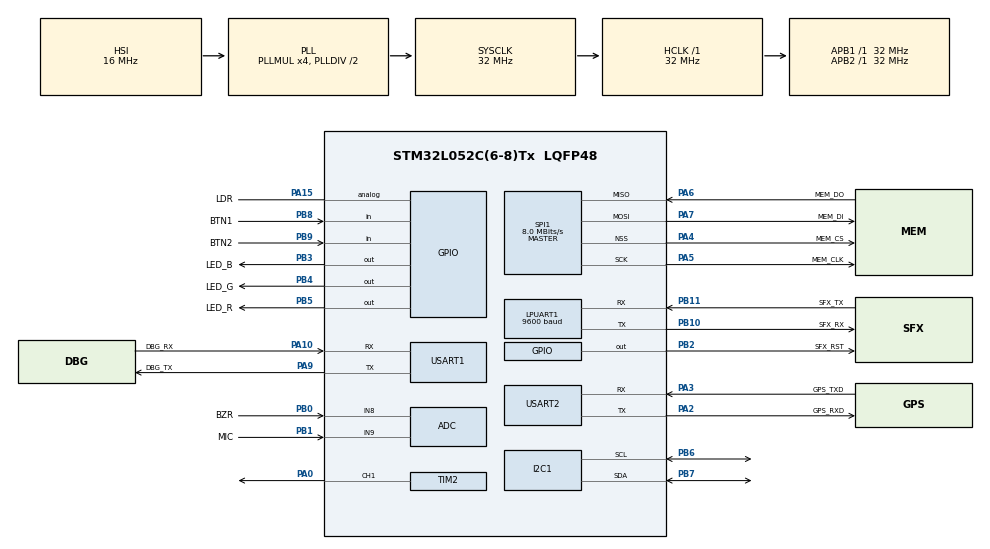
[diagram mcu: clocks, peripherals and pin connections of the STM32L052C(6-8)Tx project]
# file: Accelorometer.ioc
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ADC.ContinuousConvMode=ENABLE
ADC.DMAContinuousRequests=ENABLE
Dma.ADC.0.Direction=DMA_PERIPH_TO_MEMORY
Dma.ADC.0.Instance=DMA1_Channel1
Dma.ADC.0.MemDataAlignment=DMA_MDATAALIGN_HALFWORD
Dma.ADC.0.MemInc=DMA_MINC_ENABLE
Dma.ADC.0.Mode=DMA_NORMAL
Dma.ADC.0.PeriphDataAlignment=DMA_PDATAALIGN_HALFWORD
Dma.ADC.0.PeriphInc=DMA_PINC_DISABLE
Dma.ADC.0.Priority=DMA_PRIORITY_LOW
Dma.Request0=ADC
I2C1.Timing=0x00707CBB
LPUART1.BaudRate=9600
LPUART1.WordLength=UART_WORDLENGTH_8B
Mcu.Family=STM32L0
Mcu.Name=STM32L052C(6-8)Tx
Mcu.Package=LQFP48
NVIC.DMA1_Channel1_IRQn=true\:0\:0\:false\:false\:true\:false\:true
NVIC.RNG_LPUART1_IRQn=true\:0\:0\:false\:false\:true\:true\:true
PA0.Signal=S_TIM2_CH1
PA10.GPIO_Label=DBG_RX
PA10.Mode=Asynchronous
PA10.Signal=USART1_RX
PA13.Mode=Serial_Wire
PA13.Signal=SYS_SWDIO
PA14.Mode=Serial_Wire
PA14.Signal=SYS_SWCLK
PA15.GPIO_Label=LDR
PA15.Signal=GPIO_Analog
PA2.GPIO_Label=GPS_RXD
PA2.Mode=Asynchronous
PA2.Signal=USART2_TX
PA3.GPIO_Label=GPS_TXD
PA3.Mode=Asynchronous
PA3.Signal=USART2_RX
PA4.GPIO_Label=MEM_CS
PA4.Mode=NSS_Signal_Hard_Output
PA4.Signal=SPI1_NSS
PA5.GPIO_Label=MEM_CLK
PA5.Mode=Full_Duplex_Master
PA5.Signal=SPI1_SCK
PA6.GPIO_Label=MEM_DO
PA6.Mode=Full_Duplex_Master
PA6.Signal=SPI1_MISO
PA7.GPIO_Label=MEM_DI
PA7.Mode=Full_Duplex_Master
PA7.Signal=SPI1_MOSI
PA9.GPIO_Label=DBG_TX
PA9.Mode=Asynchronous
PA9.Signal=USART1_TX
PB0.GPIO_Label=BZR
PB0.Mode=IN8
PB0.Signal=ADC_IN8
PB1.GPIO_Label=MIC
PB1.Mode=IN9
PB1.Signal=ADC_IN9
PB10.GPIO_Label=SFX_RX
PB10.Mode=Asynchronous
PB10.Signal=LPUART1_TX
PB11.GPIO_Label=SFX_TX
PB11.Mode=Asynchronous
PB11.Signal=LPUART1_RX
PB2.GPIO_Label=SFX_RST
PB2.Signal=GPIO_Output
PB3.GPIO_Label=LED_B
PB3.GPIO_Speed=GPIO_SPEED_FREQ_MEDIUM
PB3.Signal=GPIO_Output
PB4.GPIO_Label=LED_G
PB4.GPIO_Speed=GPIO_SPEED_FREQ_MEDIUM
PB4.Signal=GPIO_Output
PB5.GPIO_Label=LED_R
PB5.GPIO_Speed=GPIO_SPEED_FREQ_MEDIUM
PB5.Signal=GPIO_Output
PB6.Mode=I2C
PB6.Signal=I2C1_SCL
PB7.Mode=I2C
PB7.Signal=I2C1_SDA
PB8.GPIO_Label=BTN1
PB8.GPIO_PuPd=GPIO_PULLUP
PB8.Signal=GPIO_Input
PB9.GPIO_Label=BTN2
PB9.GPIO_PuPd=GPIO_PULLUP
PB9.Signal=GPIO_Input
PH0-OSC_IN.Mode=HSE-External-Oscillator
PH0-OSC_IN.Signal=RCC_OSC_IN
PH1-OSC_OUT.Mode=HSE-External-Oscillator
PH1-OSC_OUT.Signal=RCC_OSC_OUT
ProjectManager.HeapSize=0x200
ProjectManager.StackSize=0x400
ProjectManager.TargetToolchain=STM32CubeIDE
RCC.AHBFreq_Value=32000000
RCC.APB1Freq_Value=32000000
RCC.APB1TimFreq_Value=32000000
RCC.APB2Freq_Value=32000000
RCC.APB2TimFreq_Value=32000000
RCC.HCLKFreq_Value=32000000
RCC.HSE_VALUE=8000000
RCC.HSI16_VALUE=16000000
RCC.HSI48_VALUE=48000000
RCC.HSI_VALUE=16000000
RCC.LSE_VALUE=32768
RCC.MSI_VALUE=2097000
RCC.PLLMUL=RCC_PLLMUL_4
RCC.SYSCLKFreq_VALUE=32000000
RCC.SYSCLKSource=RCC_SYSCLKSOURCE_PLLCLK
RCC.VCOOutputFreq_Value=64000000
SH.S_TIM2_CH1.0=TIM2_CH1,PWM Generation1 CH1
SPI1.BaudRatePrescaler=SPI_BAUDRATEPRESCALER_4
SPI1.CalculateBaudRate=8.0 MBits/s
SPI1.Direction=SPI_DIRECTION_2LINES
SPI1.Mode=SPI_MODE_MASTER
SPI1.VirtualNSS=VM_NSSHARD
SPI1.VirtualType=VM_MASTER
TIM2.Channel-PWM\ Generation1\ CH1=TIM_CHANNEL_1
TIM2.Period=200-1
TIM2.Prescaler=320-1
USART1.VirtualMode-Asynchronous=VM_ASYNC
USART2.VirtualMode-Asynchronous=VM_ASYNC
board=custom

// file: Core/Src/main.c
/* USER CODE BEGIN Header */
/**
  ******************************************************************************
  * @file           : main.c
  * @brief          : Main program body
  ******************************************************************************
  * @attention
  *
  * Copyright (c) 2024 STMicroelectronics.
  * All rights reserved.
  *
  * This software is licensed under terms that can be found in the LICENSE file
  * in the root directory of this software component.
  * If no LICENSE file comes with this software, it is provided AS-IS.
  *
  ******************************************************************************
  */
/* USER CODE END Header */
#include "main.h"

/* USER CODE BEGIN Includes */
/* USER CODE BEGIN Includes */
#include "utils.h"
#include "L70R.h"
#include "sht30x.h"
#include "LIS2DH12.h"

/* USER CODE END Includes */

ADC_HandleTypeDef hadc;
DMA_HandleTypeDef hdma_adc;

I2C_HandleTypeDef hi2c1;

UART_HandleTypeDef hlpuart1;
UART_HandleTypeDef huart1;
UART_HandleTypeDef huart2;

SPI_HandleTypeDef hspi1;

TIM_HandleTypeDef htim2;

/* USER CODE BEGIN PV */
short int tempL;
uint8_t humidityL;
uint8_t state ;
uint8_t xAxis;
uint8_t yAxis;
uint8_t zAxis;
uint32_t gps_tick_;
uint8_t gps_flag;

//char packets[24];
uint8_t flags = 0;
//date/time
char time[12] = { 0 };
char date[12] = { 0 };
char gps_ns, gps_ew;
char* timeL;
char* 	dateL;
/* USER CODE END PV */

void SystemClock_Config(void);
static void MX_GPIO_Init(void);
static void MX_USART1_UART_Init(void);
static void MX_USART2_UART_Init(void);
static void MX_ADC_Init(void);
static void MX_I2C1_Init(void);
static void MX_LPUART1_UART_Init(void);
static void MX_DMA_Init(void);
static void MX_SPI1_Init(void);
static void MX_TIM2_Init(void);

int main(void)
{
  /* USER CODE BEGIN 1 */
	gps_tick_ = 0;
	gps_flag = 0;
  /* USER CODE END 1 */

  /* MCU Configuration--------------------------------------------------------*/

  /* Reset of all peripherals, Initializes the Flash interface and the Systick. */
  HAL_Init();

  /* Configure the system clock */
  SystemClock_Config();

  /* Initialize all configured peripherals */
  MX_GPIO_Init();
  MX_USART1_UART_Init();
  MX_USART2_UART_Init();
  MX_ADC_Init();
  MX_I2C1_Init();
  MX_LPUART1_UART_Init();
  MX_DMA_Init();
  MX_SPI1_Init();
  MX_TIM2_Init();
  /* USER CODE BEGIN 2 */

	//init sht30x temp&hum sensor
	sht30x_init(0x44);
	//init lis2dh12 3-axis sensor
	Lis2dh12_init(0x19);
	//init l70R gps module, NO NMEA output
	l70_mode(1);

  /* USER CODE END 2 */

  /* Infinite loop */
  /* USER CODE BEGIN WHILE */
  while (1)
  {

	  HAL_GPIO_TogglePin(LED_B_GPIO_Port, LED_B_Pin);
	  HAL_Delay(500);
	  sht30x_get();
	  tempL = sht30x->fTemp;
	  humidityL = sht30x->humidity;

	  state = Lis2dh12_whoIAm();
	 if (state == 0x33){
		 Lis2dh12_getXYZ();
	 }
	 xAxis = Lis2dh12->x;
	 yAxis = Lis2dh12->y;
	 zAxis = Lis2dh12->z;

	 timeL = dateTimeFormat(time, l70->time, ':');
     dateL = dateTimeFormat(date, l70->date, '-');
	 gps_ns = (l70->lat_ns == 0) ? ' ' : l70->lat_ns;
	 gps_ew = (l70->lng_ew == 0) ? ' ' : l70->lng_ew;
    /* USER CODE END WHILE */

  }
}

void SystemClock_Config(void)
{
  RCC_OscInitTypeDef RCC_OscInitStruct = {0};
  RCC_ClkInitTypeDef RCC_ClkInitStruct = {0};
  RCC_PeriphCLKInitTypeDef PeriphClkInit = {0};

  /** Configure the main internal regulator output voltage
  */
  __HAL_PWR_VOLTAGESCALING_CONFIG(PWR_REGULATOR_VOLTAGE_SCALE1);
  /** Initializes the RCC Oscillators according to the specified parameters
  * in the RCC_OscInitTypeDef structure.
  */
  RCC_OscInitStruct.OscillatorType = RCC_OSCILLATORTYPE_HSI;
  RCC_OscInitStruct.HSIState = RCC_HSI_ON;
  RCC_OscInitStruct.HSICalibrationValue = RCC_HSICALIBRATION_DEFAULT;
  RCC_OscInitStruct.PLL.PLLState = RCC_PLL_ON;
  RCC_OscInitStruct.PLL.PLLSource = RCC_PLLSOURCE_HSI;
  RCC_OscInitStruct.PLL.PLLMUL = RCC_PLLMUL_4;
  RCC_OscInitStruct.PLL.PLLDIV = RCC_PLLDIV_2;
  if (HAL_RCC_OscConfig(&RCC_OscInitStruct) != HAL_OK)
  {
    Error_Handler();
  }
  /** Initializes the CPU, AHB and APB buses clocks
  */
  RCC_ClkInitStruct.ClockType = RCC_CLOCKTYPE_HCLK|RCC_CLOCKTYPE_SYSCLK
                              |RCC_CLOCKTYPE_PCLK1|RCC_CLOCKTYPE_PCLK2;
  RCC_ClkInitStruct.SYSCLKSource = RCC_SYSCLKSOURCE_PLLCLK;
  RCC_ClkInitStruct.AHBCLKDivider = RCC_SYSCLK_DIV1;
  RCC_ClkInitStruct.APB1CLKDivider = RCC_HCLK_DIV1;
  RCC_ClkInitStruct.APB2CLKDivider = RCC_HCLK_DIV1;

  if (HAL_RCC_ClockConfig(&RCC_ClkInitStruct, FLASH_LATENCY_1) != HAL_OK)
  {
    Error_Handler();
  }
  PeriphClkInit.PeriphClockSelection = RCC_PERIPHCLK_USART1|RCC_PERIPHCLK_USART2
                              |RCC_PERIPHCLK_LPUART1|RCC_PERIPHCLK_I2C1;
  PeriphClkInit.Usart1ClockSelection = RCC_USART1CLKSOURCE_PCLK2;
  PeriphClkInit.Usart2ClockSelection = RCC_USART2CLKSOURCE_PCLK1;
  PeriphClkInit.Lpuart1ClockSelection = RCC_LPUART1CLKSOURCE_PCLK1;
  PeriphClkInit.I2c1ClockSelection = RCC_I2C1CLKSOURCE_PCLK1;
  if (HAL_RCCEx_PeriphCLKConfig(&PeriphClkInit) != HAL_OK)
  {
    Error_Handler();
  }
}

static void MX_ADC_Init(void)
{

  ADC_ChannelConfTypeDef sConfig = {0};

  /** Configure the global features of the ADC (Clock, Resolution, Data Alignment and number of conversion)
  */
  hadc.Instance = ADC1;
  hadc.Init.OversamplingMode = DISABLE;
  hadc.Init.ClockPrescaler = ADC_CLOCK_SYNC_PCLK_DIV2;
  hadc.Init.Resolution = ADC_RESOLUTION_12B;
  hadc.Init.SamplingTime = ADC_SAMPLETIME_1CYCLE_5;
  hadc.Init.ScanConvMode = ADC_SCAN_DIRECTION_FORWARD;
  hadc.Init.DataAlign = ADC_DATAALIGN_RIGHT;
  hadc.Init.ContinuousConvMode = ENABLE;
  hadc.Init.DiscontinuousConvMode = DISABLE;
  hadc.Init.ExternalTrigConvEdge = ADC_EXTERNALTRIGCONVEDGE_NONE;
  hadc.Init.ExternalTrigConv = ADC_SOFTWARE_START;
  hadc.Init.DMAContinuousRequests = ENABLE;
  hadc.Init.EOCSelection = ADC_EOC_SINGLE_CONV;
  hadc.Init.Overrun = ADC_OVR_DATA_PRESERVED;
  hadc.Init.LowPowerAutoWait = DISABLE;
  hadc.Init.LowPowerFrequencyMode = DISABLE;
  hadc.Init.LowPowerAutoPowerOff = DISABLE;
  if (HAL_ADC_Init(&hadc) != HAL_OK)
  {
    Error_Handler();
  }
  /** Configure for the selected ADC regular channel to be converted.
  */
  sConfig.Channel = ADC_CHANNEL_8;
  sConfig.Rank = ADC_RANK_CHANNEL_NUMBER;
  if (HAL_ADC_ConfigChannel(&hadc, &sConfig) != HAL_OK)
  {
    Error_Handler();
  }
  /** Configure for the selected ADC regular channel to be converted.
  */
  sConfig.Channel = ADC_CHANNEL_9;
  if (HAL_ADC_ConfigChannel(&hadc, &sConfig) != HAL_OK)
  {
    Error_Handler();
  }

}

static void MX_I2C1_Init(void)
{

  hi2c1.Instance = I2C1;
  hi2c1.Init.Timing = 0x00707CBB;
  hi2c1.Init.OwnAddress1 = 0;
  hi2c1.Init.AddressingMode = I2C_ADDRESSINGMODE_7BIT;
  hi2c1.Init.DualAddressMode = I2C_DUALADDRESS_DISABLE;
  hi2c1.Init.OwnAddress2 = 0;
  hi2c1.Init.OwnAddress2Masks = I2C_OA2_NOMASK;
  hi2c1.Init.GeneralCallMode = I2C_GENERALCALL_DISABLE;
  hi2c1.Init.NoStretchMode = I2C_NOSTRETCH_DISABLE;
  if (HAL_I2C_Init(&hi2c1) != HAL_OK)
  {
    Error_Handler();
  }
  /** Configure Analogue filter
  */
  if (HAL_I2CEx_ConfigAnalogFilter(&hi2c1, I2C_ANALOGFILTER_ENABLE) != HAL_OK)
  {
    Error_Handler();
  }
  /** Configure Digital filter
  */
  if (HAL_I2CEx_ConfigDigitalFilter(&hi2c1, 0) != HAL_OK)
  {
    Error_Handler();
  }

}

static void MX_LPUART1_UART_Init(void)
{

  hlpuart1.Instance = LPUART1;
  hlpuart1.Init.BaudRate = 9600;
  hlpuart1.Init.WordLength = UART_WORDLENGTH_8B;
  hlpuart1.Init.StopBits = UART_STOPBITS_1;
  hlpuart1.Init.Parity = UART_PARITY_NONE;
  hlpuart1.Init.Mode = UART_MODE_TX_RX;
  hlpuart1.Init.HwFlowCtl = UART_HWCONTROL_NONE;
  hlpuart1.Init.OneBitSampling = UART_ONE_BIT_SAMPLE_DISABLE;
  hlpuart1.AdvancedInit.AdvFeatureInit = UART_ADVFEATURE_NO_INIT;
  if (HAL_UART_Init(&hlpuart1) != HAL_OK)
  {
    Error_Handler();
  }

}

static void MX_USART1_UART_Init(void)
{

  huart1.Instance = USART1;
  huart1.Init.BaudRate = 115200;
  huart1.Init.WordLength = UART_WORDLENGTH_8B;
  huart1.Init.StopBits = UART_STOPBITS_1;
  huart1.Init.Parity = UART_PARITY_NONE;
  huart1.Init.Mode = UART_MODE_TX_RX;
  huart1.Init.HwFlowCtl = UART_HWCONTROL_NONE;
  huart1.Init.OverSampling = UART_OVERSAMPLING_16;
  huart1.Init.OneBitSampling = UART_ONE_BIT_SAMPLE_DISABLE;
  huart1.AdvancedInit.AdvFeatureInit = UART_ADVFEATURE_NO_INIT;
  if (HAL_UART_Init(&huart1) != HAL_OK)
  {
    Error_Handler();
  }

}

static void MX_USART2_UART_Init(void)
{

  huart2.Instance = USART2;
  huart2.Init.BaudRate = 115200;
  huart2.Init.WordLength = UART_WORDLENGTH_8B;
  huart2.Init.StopBits = UART_STOPBITS_1;
  huart2.Init.Parity = UART_PARITY_NONE;
  huart2.Init.Mode = UART_MODE_TX_RX;
  huart2.Init.HwFlowCtl = UART_HWCONTROL_NONE;
  huart2.Init.OverSampling = UART_OVERSAMPLING_16;
  huart2.Init.OneBitSampling = UART_ONE_BIT_SAMPLE_DISABLE;
  huart2.AdvancedInit.AdvFeatureInit = UART_ADVFEATURE_NO_INIT;
  if (HAL_UART_Init(&huart2) != HAL_OK)
  {
    Error_Handler();
  }

}

static void MX_SPI1_Init(void)
{

  /* SPI1 parameter configuration*/
  hspi1.Instance = SPI1;
  hspi1.Init.Mode = SPI_MODE_MASTER;
  hspi1.Init.Direction = SPI_DIRECTION_2LINES;
  hspi1.Init.DataSize = SPI_DATASIZE_8BIT;
  hspi1.Init.CLKPolarity = SPI_POLARITY_LOW;
  hspi1.Init.CLKPhase = SPI_PHASE_1EDGE;
  hspi1.Init.NSS = SPI_NSS_HARD_OUTPUT;
  hspi1.Init.BaudRatePrescaler = SPI_BAUDRATEPRESCALER_4;
  hspi1.Init.FirstBit = SPI_FIRSTBIT_MSB;
  hspi1.Init.TIMode = SPI_TIMODE_DISABLE;
  hspi1.Init.CRCCalculation = SPI_CRCCALCULATION_DISABLE;
  hspi1.Init.CRCPolynomial = 7;
  if (HAL_SPI_Init(&hspi1) != HAL_OK)
  {
    Error_Handler();
  }

}

static void MX_TIM2_Init(void)
{

  TIM_MasterConfigTypeDef sMasterConfig = {0};
  TIM_OC_InitTypeDef sConfigOC = {0};

  htim2.Instance = TIM2;
  htim2.Init.Prescaler = 320-1;
  htim2.Init.CounterMode = TIM_COUNTERMODE_UP;
  htim2.Init.Period = 200-1;
  htim2.Init.ClockDivision = TIM_CLOCKDIVISION_DIV1;
  htim2.Init.AutoReloadPreload = TIM_AUTORELOAD_PRELOAD_DISABLE;
  if (HAL_TIM_PWM_Init(&htim2) != HAL_OK)
  {
    Error_Handler();
  }
  sMasterConfig.MasterOutputTrigger = TIM_TRGO_RESET;
  sMasterConfig.MasterSlaveMode = TIM_MASTERSLAVEMODE_DISABLE;
  if (HAL_TIMEx_MasterConfigSynchronization(&htim2, &sMasterConfig) != HAL_OK)
  {
    Error_Handler();
  }
  sConfigOC.OCMode = TIM_OCMODE_PWM1;
  sConfigOC.Pulse = 0;
  sConfigOC.OCPolarity = TIM_OCPOLARITY_HIGH;
  sConfigOC.OCFastMode = TIM_OCFAST_DISABLE;
  if (HAL_TIM_PWM_ConfigChannel(&htim2, &sConfigOC, TIM_CHANNEL_1) != HAL_OK)
  {
    Error_Handler();
  }
  HAL_TIM_MspPostInit(&htim2);

}

static void MX_DMA_Init(void)
{

  /* DMA controller clock enable */
  __HAL_RCC_DMA1_CLK_ENABLE();

  /* DMA interrupt init */
  /* DMA1_Channel1_IRQn interrupt configuration */
  HAL_NVIC_SetPriority(DMA1_Channel1_IRQn, 0, 0);
  HAL_NVIC_EnableIRQ(DMA1_Channel1_IRQn);

}

static void MX_GPIO_Init(void)
{
  GPIO_InitTypeDef GPIO_InitStruct = {0};

  /* GPIO Ports Clock Enable */
  __HAL_RCC_GPIOH_CLK_ENABLE();
  __HAL_RCC_GPIOA_CLK_ENABLE();
  __HAL_RCC_GPIOB_CLK_ENABLE();

  /*Configure GPIO pin Output Level */
  HAL_GPIO_WritePin(GPIOB, SFX_RST_Pin|LED_B_Pin|LED_G_Pin|LED_R_Pin, GPIO_PIN_RESET);

  /*Configure GPIO pin : SFX_RST_Pin */
  GPIO_InitStruct.Pin = SFX_RST_Pin;
  GPIO_InitStruct.Mode = GPIO_MODE_OUTPUT_PP;
  GPIO_InitStruct.Pull = GPIO_NOPULL;
  GPIO_InitStruct.Speed = GPIO_SPEED_FREQ_LOW;
  HAL_GPIO_Init(SFX_RST_GPIO_Port, &GPIO_InitStruct);

  /*Configure GPIO pin : LDR_Pin */
  GPIO_InitStruct.Pin = LDR_Pin;
  GPIO_InitStruct.Mode = GPIO_MODE_ANALOG;
  GPIO_InitStruct.Pull = GPIO_NOPULL;
  HAL_GPIO_Init(LDR_GPIO_Port, &GPIO_InitStruct);

  /*Configure GPIO pins : LED_B_Pin LED_G_Pin LED_R_Pin */
  GPIO_InitStruct.Pin = LED_B_Pin|LED_G_Pin|LED_R_Pin;
  GPIO_InitStruct.Mode = GPIO_MODE_OUTPUT_PP;
  GPIO_InitStruct.Pull = GPIO_NOPULL;
  GPIO_InitStruct.Speed = GPIO_SPEED_FREQ_MEDIUM;
  HAL_GPIO_Init(GPIOB, &GPIO_InitStruct);

  /*Configure GPIO pins : BTN1_Pin BTN2_Pin */
  GPIO_InitStruct.Pin = BTN1_Pin|BTN2_Pin;
  GPIO_InitStruct.Mode = GPIO_MODE_INPUT;
  GPIO_InitStruct.Pull = GPIO_PULLUP;
  HAL_GPIO_Init(GPIOB, &GPIO_InitStruct);

}

void Error_Handler(void)
{
  __disable_irq();
  while (1)
  {
  }
}
